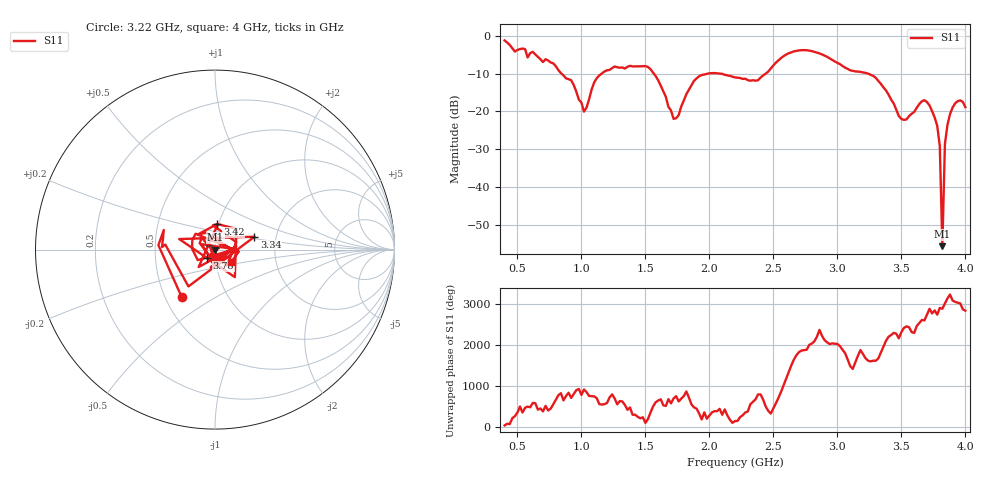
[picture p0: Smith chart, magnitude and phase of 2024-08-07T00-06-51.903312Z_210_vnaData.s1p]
!Created with skrf (http://scikit-rf.org).
# Hz S RI R 50.0
!freq ReS11 ImS11
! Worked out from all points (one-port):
!   181 points, 400 MHz to 4 GHz, reference 50 ohm
!   lowest |S11| = -55.7 dB at 3.82 GHz (marker M1), VSWR 1.00, Z = 50.2 + j0.03 ohm
!   |S11| at or under -10 dB: 1.566 GHz to 1.986 GHz (420.2 MHz wide, 23.7 % of centre); 2.084 GHz to 2.44 GHz (355.5 MHz wide, 15.7 % of centre); 3.24 GHz to end of sweep (the widest 3 of 4)
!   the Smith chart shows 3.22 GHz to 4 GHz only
!   S11 on the Smith chart (normalised r, x): 3.22 GHz: 0.61, -0.36; 3.34 GHz: 1.54, +0.23; 3.42 GHz: 0.98, +0.29; 3.78 GHz: 0.91, -0.08; 4 GHz: 1.18, -0.17
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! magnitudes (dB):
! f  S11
! 400 MHz  -1.2
! 860 MHz  -10.5
! 920 MHz  -11.7
! 1.02 GHz  -20.1
! 1.12 GHz  -11.2
! 1.3 GHz  -8.4
! 1.52 GHz  -8.2
! 1.6 GHz  -11.8
! 1.72 GHz  -22.0
! 1.76 GHz  -21.0
! 1.92 GHz  -10.7
! 2.2 GHz  -11.0
! 2.38 GHz  -11.7
! 2.66 GHz  -4.1
! 3.1 GHz  -9.1
! 3.22 GHz  -9.8
! 3.34 GHz  -12.7
! 3.42 GHz  -16.9
! 3.5 GHz  -22.0
! 3.56 GHz  -21.2
! 3.68 GHz  -17.0
! 3.78 GHz  -23.8
! 3.8 GHz  -29.2
! 3.82 GHz  -55.7
! 3.84 GHz  -28.7
! 3.86 GHz  -23.6
! 3.92 GHz  -17.9
! 4 GHz  -18.9
